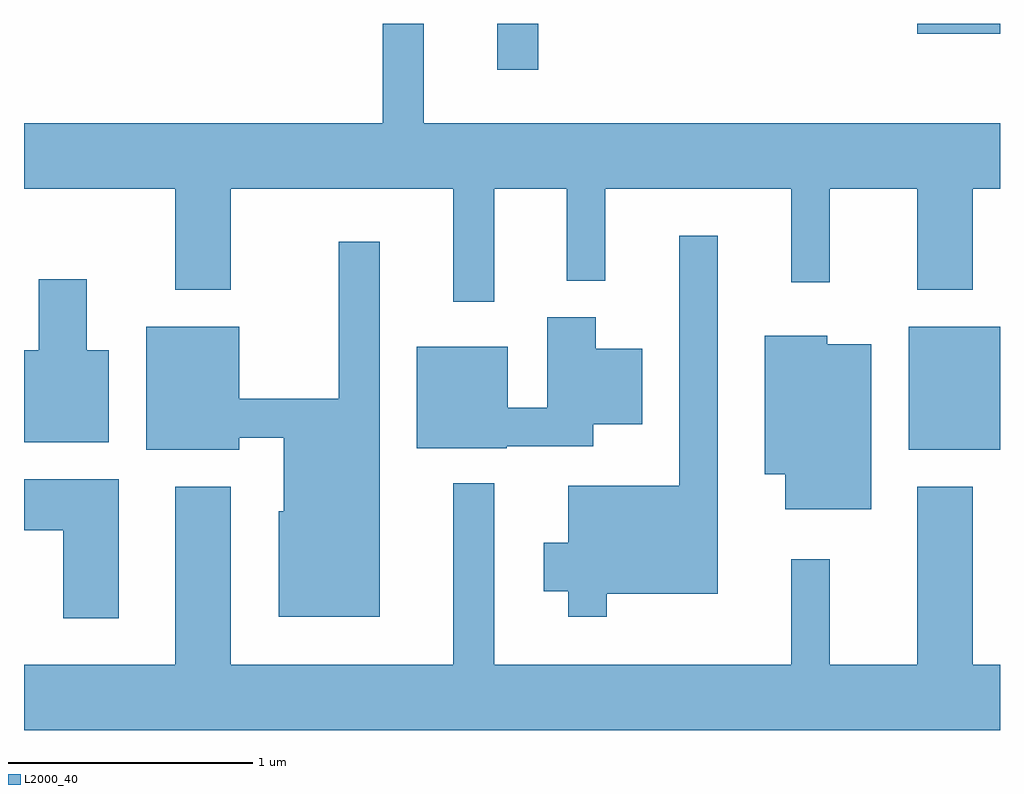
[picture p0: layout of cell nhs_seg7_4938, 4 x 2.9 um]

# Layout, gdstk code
import gdstk
lib = gdstk.Library(unit=1e-6, precision=1e-09)
def R(c, l, rs):  # rectangles x0, y0, x1, y1
    for r in rs: c.add(gdstk.rectangle(r[:2], r[2:], *l))
def P(c, l, *ps):  # polygons
    for p in ps: c.add(gdstk.Polygon(p, *l))
L2000_40 = (2000, 40)

nhs_seg7_4938 = lib.new_cell('nhs_seg7_4938')
R(nhs_seg7_4938, L2000_40, [(339.236,1786.506,339.611,1787.009), (337.551,1788.063,337.719,1788.252), (339.271,1788.211,339.611,1788.252)])
P(nhs_seg7_4938, L2000_40, [(337.249,1788.252),(337.081,1788.252),(337.081,1787.844),(335.611,1787.844),(335.611,1787.576),(336.231,1787.576),(336.231,1787.161),(336.459,1787.161),(336.459,1787.576),(337.371,1787.576),(337.371,1787.113),(337.539,1787.113),(337.539,1787.576),(337.836,1787.576),(337.836,1787.198),(337.994,1787.198),(337.994,1787.576),(338.756,1787.576),(338.756,1787.193),(338.914,1787.193),(338.914,1787.576),(339.271,1787.576),(339.271,1787.161),(339.499,1787.161),(339.499,1787.576),(339.611,1787.576),(339.611,1787.844),(337.249,1787.844)],
  [(337.999,1785.916),(338.454,1785.916),(338.454,1787.383),(338.296,1787.383),(338.296,1786.359),(337.841,1786.359),(337.841,1786.124),(337.741,1786.124),(337.741,1785.926),(337.841,1785.926),(337.841,1785.821),(337.999,1785.821)],
  [(337.069,1787.358),(336.901,1787.358),(336.901,1786.714),(336.494,1786.714),(336.494,1787.009),(336.111,1787.009),(336.111,1786.506),(336.494,1786.506),(336.494,1786.556),(336.676,1786.556),(336.676,1786.254),(336.656,1786.254),(336.656,1785.821),(337.069,1785.821)],
  [(335.959,1786.914),(335.869,1786.914),(335.869,1787.204),(335.671,1787.204),(335.671,1786.914),(335.611,1786.914),(335.611,1786.536),(335.959,1786.536)],
  [(337.59,1786.521),(337.944,1786.521),(337.944,1786.611),(338.144,1786.611),(338.144,1786.919),(337.954,1786.919),(337.954,1787.049),(337.756,1787.049),(337.756,1786.679),(337.594,1786.679),(337.594,1786.929),(337.221,1786.929),(337.221,1786.511),(337.59,1786.511)],
  [(339.084,1786.939),(338.904,1786.939),(338.904,1786.974),(338.646,1786.974),(338.646,1786.406),(338.731,1786.406),(338.731,1786.261),(339.084,1786.261)],
  [(335.999,1786.384),(335.611,1786.384),(335.611,1786.176),(335.771,1786.176),(335.771,1785.816),(335.999,1785.816)],
  [(339.611,1785.624),(339.499,1785.624),(339.499,1786.354),(339.271,1786.354),(339.271,1785.624),(338.914,1785.624),(338.914,1786.058),(338.756,1786.058),(338.756,1785.624),(337.539,1785.624),(337.539,1786.368),(337.371,1786.368),(337.371,1785.624),(336.459,1785.624),(336.459,1786.354),(336.231,1786.354),(336.231,1785.624),(335.611,1785.624),(335.611,1785.356),(339.611,1785.356)])

lib.write_gds('nhs_seg7_4938.gds')
